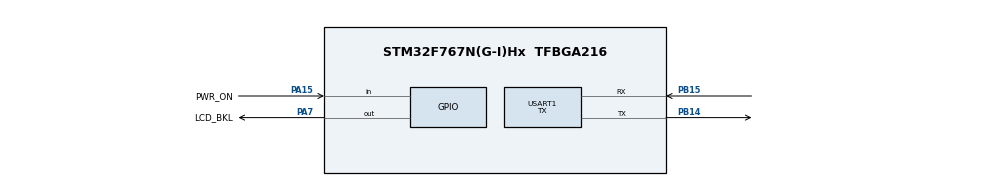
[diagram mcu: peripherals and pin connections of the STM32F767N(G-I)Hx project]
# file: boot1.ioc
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CORTEX_M7.CPU_DCache=Disabled
CORTEX_M7.CPU_ICache=Disabled
CORTEX_M7.PREFETCH_ENABLE=0
Mcu.Family=STM32F7
Mcu.Name=STM32F767N(G-I)Hx
Mcu.Package=TFBGA216
NVIC.PriorityGroup=NVIC_PRIORITYGROUP_4
PA13.Mode=Serial_Wire
PA13.Signal=SYS_JTMS-SWDIO
PA14.Mode=Serial_Wire
PA14.Signal=SYS_JTCK-SWCLK
PA15.GPIO_Label=PWR_ON
PA15.GPIO_PuPd=GPIO_NOPULL
PA15.Signal=GPIO_Input
PA7.GPIO_Label=LCD_BKL
PA7.Signal=GPIO_Output
PB14.Mode=Asynchronous
PB14.Signal=USART1_TX
PB15.Mode=Asynchronous
PB15.Signal=USART1_RX
ProjectManager.HeapSize=0x200
ProjectManager.StackSize=0x400
ProjectManager.TargetToolchain=STM32CubeIDE
RCC.AHBFreq_Value=16000000
RCC.APB1CLKDivider=RCC_HCLK_DIV4
RCC.APB1Freq_Value=4000000
RCC.APB1TimFreq_Value=8000000
RCC.APB2CLKDivider=RCC_HCLK_DIV2
RCC.APB2Freq_Value=8000000
RCC.APB2TimFreq_Value=16000000
RCC.CortexFreq_Value=16000000
RCC.HCLKFreq_Value=16000000
RCC.HSE_VALUE=25000000
RCC.HSI_VALUE=16000000
RCC.LSE_VALUE=32768
RCC.PLLM=25
RCC.PLLN=432
RCC.SYSCLKFreq_VALUE=16000000
RCC.USBFreq_Value=138240000
RCC.VCOOutputFreq_Value=276480000
USART1.Mode=MODE_TX
USART1.VirtualMode-Asynchronous=VM_ASYNC
board=custom

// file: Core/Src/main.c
/* USER CODE BEGIN Header */
/**
  ******************************************************************************
  * @file           : main.c
  * @brief          : Main program body
  ******************************************************************************
  * @attention
  *
  * Copyright (c) 2024 STMicroelectronics.
  * All rights reserved.
  *
  * This software is licensed under terms that can be found in the LICENSE file
  * in the root directory of this software component.
  * If no LICENSE file comes with this software, it is provided AS-IS.
  *
  ******************************************************************************
  */
/* USER CODE END Header */
#include "main.h"

/* USER CODE BEGIN Includes */
#include <stdio.h>
#include <string.h>
#include <stdbool.h>

/* USER CODE END Includes */

/* USER CODE BEGIN PTD */
typedef struct _IOSAddrClame
{
    uint8_t DevInstance;
    uint8_t SysInstance;
} ISOAdrClame  __attribute__((aligned(1)));

typedef struct _common_dat
{
    uint32_t jmp_adr;

    uint16_t bootver;
    uint16_t appver;

    uint8_t  uniquenum[3];
    uint8_t  rsv1;

    ISOAdrClame adrclame;
    uint8_t  rsv2[2];

    uint8_t  lcd_bl;
    uint8_t  bzr_vol;
    uint8_t  nmea2k_adr;
    uint8_t  isUpdateFlashIdle;

    uint32_t crc32;
} common_dat __attribute__((aligned(1)));

typedef void (*pFunction)(void);

/* USER CODE END PTD */

/* USER CODE BEGIN PD */
#define ADDR_FLASH_SECTOR_0     ((uint32_t)0x08000000) /* Base @ of Sector 0, 32 Kbyte */
#define ADDR_FLASH_SECTOR_1     ((uint32_t)0x08008000) /* Base @ of Sector 1, 32 Kbyte */
#define ADDR_FLASH_SECTOR_2     ((uint32_t)0x08010000) /* Base @ of Sector 2, 32 Kbyte */
#define ADDR_FLASH_SECTOR_3     ((uint32_t)0x08018000) /* Base @ of Sector 3, 32 Kbyte */
#define ADDR_FLASH_SECTOR_4     ((uint32_t)0x08020000) /* Base @ of Sector 4, 128 Kbyte */
#define ADDR_FLASH_SECTOR_5     ((uint32_t)0x08040000) /* Base @ of Sector 5, 256 Kbyte */
#define ADDR_FLASH_SECTOR_6     ((uint32_t)0x08080000) /* Base @ of Sector 6, 256 Kbyte */
#define ADDR_FLASH_SECTOR_7     ((uint32_t)0x080C0000) /* Base @ of Sector 7, 256 Kbyte */

#define BOOT1_START_ADDR          ADDR_FLASH_SECTOR_0
#define FLASH_DATA_ADDR           ADDR_FLASH_SECTOR_3
#define BOOT2_START_ADDR          ADDR_FLASH_SECTOR_4
#define APP_START_ADDR            ADDR_FLASH_SECTOR_5

//#define FEATURE_POWER_PLUGIN_BOOT
/* USER CODE END PD */

/* USER CODE BEGIN PV */
const common_dat g_common_dat_def = {.lcd_bl = 50, .bzr_vol = 0, .jmp_adr = APP_START_ADDR, .crc32 = 0x3f1b1b2b};
common_dat g_common_dat;
/* USER CODE END PV */

void SystemClock_Config(void);
static void MX_GPIO_Init(void);
static void MX_USART1_UART_Init(void);

/* USER CODE BEGIN 0 */
void printk(char* pch)
{
    for(uint8_t i=0; i<strlen((char*)pch); i++)
    {
        LL_USART_TransmitData8(USART1, *(pch+i));
        while(!LL_USART_IsActiveFlag_TC(USART1));
    }
}

void checkFlashData(void)
{
    common_dat *pcommon_dat = (common_dat*)FLASH_DATA_ADDR;
    uint32_t *pboot2_hdr = (uint32_t*)BOOT2_START_ADDR;
    uint32_t *papp_hdr   = (uint32_t*)APP_START_ADDR;

    if((((*papp_hdr) & 0xF0000000)!=0x20000000) && ((*pboot2_hdr) & 0xF0000000)!=0x20000000)
    {
        printk("boot2 and app code empty.\r\n");
        Error_Handler();
    }

    if(pcommon_dat->jmp_adr != BOOT2_START_ADDR && pcommon_dat->jmp_adr != APP_START_ADDR)
    {
        printk("No valid jmp target address. set to jmp_adr<=APP_START_ADDR\r\n");
        pcommon_dat->jmp_adr = APP_START_ADDR;
    }

    g_common_dat = *pcommon_dat;

    return;
}

/* USER CODE END 0 */

int main(void)
{

  /* USER CODE BEGIN 1 */
  uint32_t cnt_pwr = 0;

  /* USER CODE END 1 */

  /* MCU Configuration--------------------------------------------------------*/

  /* Reset of all peripherals, Initializes the Flash interface and the Systick. */
  LL_APB1_GRP1_EnableClock(LL_APB1_GRP1_PERIPH_PWR);
  LL_APB2_GRP1_EnableClock(LL_APB2_GRP1_PERIPH_SYSCFG);

  /* System interrupt init*/
  NVIC_SetPriorityGrouping(NVIC_PRIORITYGROUP_4);

  /* SysTick_IRQn interrupt configuration */
  NVIC_SetPriority(SysTick_IRQn, NVIC_EncodePriority(NVIC_GetPriorityGrouping(),15, 0));

  /* Initialize all configured peripherals */
  MX_GPIO_Init();
  MX_USART1_UART_Init();
  /* USER CODE BEGIN 2 */
  printk("ECO-ACU boot1 ");
  printk(__DATE__);
  printk("\r\n");

  checkFlashData();

  LL_Init1msTick(16000000);

#ifdef FEATURE_POWER_PLUGIN_BOOT
  g_common_dat.jmp_adr = BOOT2_START_ADDR;
#else
  LL_mDelay(10);
  while( LL_GPIO_IsInputPinSet(PWR_ON_GPIO_Port, PWR_ON_Pin)) LL_mDelay(10);
  LL_mDelay(10);
  while(!LL_GPIO_IsInputPinSet(PWR_ON_GPIO_Port, PWR_ON_Pin)) LL_mDelay(10);

  while(LL_GPIO_IsInputPinSet(PWR_ON_GPIO_Port, PWR_ON_Pin))
  {
      LL_mDelay(10);
      if(300 < cnt_pwr++) break;
  }

  if(300 < cnt_pwr) g_common_dat.jmp_adr = BOOT2_START_ADDR;
#endif

  /* Reinitialize the Stack pointer and jump to application address */
  uint32_t JumpAddress = *(__IO uint32_t *) (g_common_dat.jmp_adr + 4);
  pFunction JumpToApplication = (pFunction) JumpAddress;

  /* Initialize user application's Stack Pointer */
  __set_MSP(*(__IO uint32_t*) g_common_dat.jmp_adr);

  JumpToApplication();

  /* USER CODE END 2 */

  /* Infinite loop */
  while (1)
  {

  }
}

void SystemClock_Config(void)
{
  LL_FLASH_SetLatency(LL_FLASH_LATENCY_0);
  while(LL_FLASH_GetLatency()!= LL_FLASH_LATENCY_0)
  {
  }
  LL_PWR_SetRegulVoltageScaling(LL_PWR_REGU_VOLTAGE_SCALE3);
  LL_PWR_DisableOverDriveMode();
  LL_RCC_HSI_SetCalibTrimming(16);
  LL_RCC_HSI_Enable();

   /* Wait till HSI is ready */
  while(LL_RCC_HSI_IsReady() != 1)
  {

  }
  LL_RCC_SetAHBPrescaler(LL_RCC_SYSCLK_DIV_1);
  LL_RCC_SetAPB1Prescaler(LL_RCC_APB1_DIV_4);
  LL_RCC_SetAPB2Prescaler(LL_RCC_APB2_DIV_2);
  LL_RCC_SetSysClkSource(LL_RCC_SYS_CLKSOURCE_HSI);

   /* Wait till System clock is ready */
  while(LL_RCC_GetSysClkSource() != LL_RCC_SYS_CLKSOURCE_STATUS_HSI)
  {

  }
  LL_Init1msTick(16000000);
  LL_SetSystemCoreClock(16000000);

   /* Set Timers Clock Prescalers */
  LL_RCC_SetTIMPrescaler(LL_RCC_TIM_PRESCALER_TWICE);
}

static void MX_USART1_UART_Init(void)
{

  LL_USART_InitTypeDef USART_InitStruct = {0};

  LL_GPIO_InitTypeDef GPIO_InitStruct = {0};

  LL_RCC_SetUSARTClockSource(LL_RCC_USART1_CLKSOURCE_PCLK2);

  /* Peripheral clock enable */
  LL_APB2_GRP1_EnableClock(LL_APB2_GRP1_PERIPH_USART1);

  LL_AHB1_GRP1_EnableClock(LL_AHB1_GRP1_PERIPH_GPIOB);
  /**USART1 GPIO Configuration
  PB14   ------> USART1_TX
  PB15   ------> USART1_RX
  */
  GPIO_InitStruct.Pin = LL_GPIO_PIN_14;
  GPIO_InitStruct.Mode = LL_GPIO_MODE_ALTERNATE;
  GPIO_InitStruct.Speed = LL_GPIO_SPEED_FREQ_VERY_HIGH;
  GPIO_InitStruct.OutputType = LL_GPIO_OUTPUT_PUSHPULL;
  GPIO_InitStruct.Pull = LL_GPIO_PULL_NO;
  GPIO_InitStruct.Alternate = LL_GPIO_AF_4;
  LL_GPIO_Init(GPIOB, &GPIO_InitStruct);

  GPIO_InitStruct.Pin = LL_GPIO_PIN_15;
  GPIO_InitStruct.Mode = LL_GPIO_MODE_ALTERNATE;
  GPIO_InitStruct.Speed = LL_GPIO_SPEED_FREQ_VERY_HIGH;
  GPIO_InitStruct.OutputType = LL_GPIO_OUTPUT_PUSHPULL;
  GPIO_InitStruct.Pull = LL_GPIO_PULL_NO;
  GPIO_InitStruct.Alternate = LL_GPIO_AF_4;
  LL_GPIO_Init(GPIOB, &GPIO_InitStruct);

  USART_InitStruct.BaudRate = 115200;
  USART_InitStruct.DataWidth = LL_USART_DATAWIDTH_8B;
  USART_InitStruct.StopBits = LL_USART_STOPBITS_1;
  USART_InitStruct.Parity = LL_USART_PARITY_NONE;
  USART_InitStruct.TransferDirection = LL_USART_DIRECTION_TX;
  USART_InitStruct.HardwareFlowControl = LL_USART_HWCONTROL_NONE;
  USART_InitStruct.OverSampling = LL_USART_OVERSAMPLING_16;
  LL_USART_Init(USART1, &USART_InitStruct);
  LL_USART_ConfigAsyncMode(USART1);
  LL_USART_Enable(USART1);

}

static void MX_GPIO_Init(void)
{
  LL_GPIO_InitTypeDef GPIO_InitStruct = {0};

  /* GPIO Ports Clock Enable */
  LL_AHB1_GRP1_EnableClock(LL_AHB1_GRP1_PERIPH_GPIOA);
  LL_AHB1_GRP1_EnableClock(LL_AHB1_GRP1_PERIPH_GPIOB);

  /**/
  LL_GPIO_ResetOutputPin(LCD_BKL_GPIO_Port, LCD_BKL_Pin);

  /**/
  GPIO_InitStruct.Pin = PWR_ON_Pin;
  GPIO_InitStruct.Mode = LL_GPIO_MODE_INPUT;
  GPIO_InitStruct.Pull = LL_GPIO_PULL_NO;
  LL_GPIO_Init(PWR_ON_GPIO_Port, &GPIO_InitStruct);

  /**/
  GPIO_InitStruct.Pin = LCD_BKL_Pin;
  GPIO_InitStruct.Mode = LL_GPIO_MODE_OUTPUT;
  GPIO_InitStruct.Speed = LL_GPIO_SPEED_FREQ_LOW;
  GPIO_InitStruct.OutputType = LL_GPIO_OUTPUT_PUSHPULL;
  GPIO_InitStruct.Pull = LL_GPIO_PULL_NO;
  LL_GPIO_Init(LCD_BKL_GPIO_Port, &GPIO_InitStruct);

}

void Error_Handler(void)
{
  __disable_irq();
  while (1)
  {
  }
}
